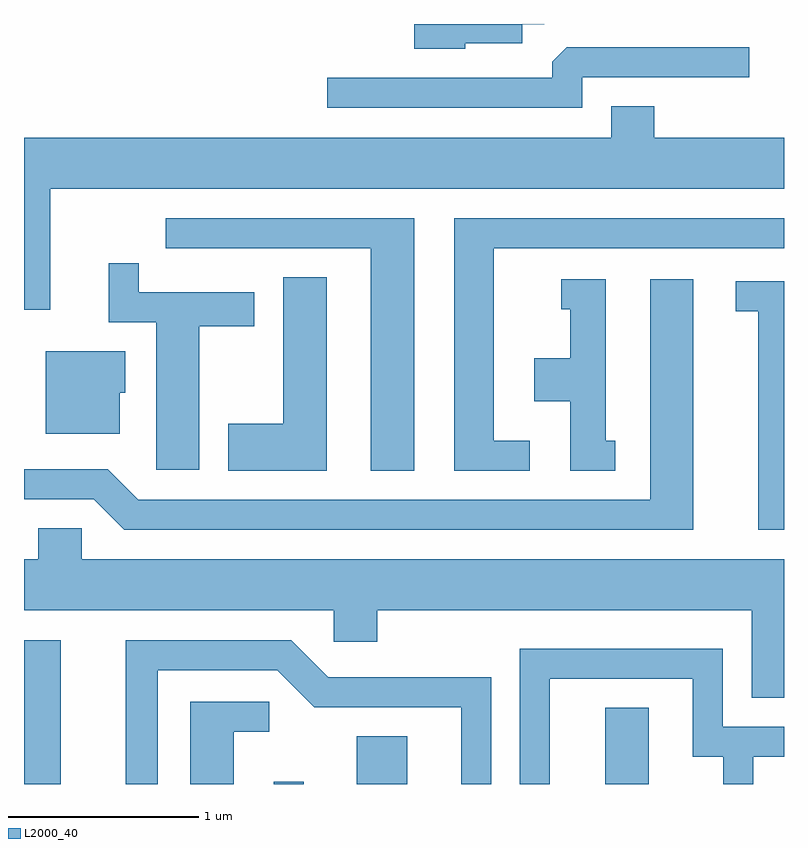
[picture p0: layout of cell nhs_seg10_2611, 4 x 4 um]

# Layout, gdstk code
import gdstk
lib = gdstk.Library(unit=1e-6, precision=1e-09)
def R(c, l, rs):  # rectangles x0, y0, x1, y1
    for r in rs: c.add(gdstk.rectangle(r[:2], r[2:], *l))
def P(c, l, *ps):  # polygons
    for p in ps: c.add(gdstk.Polygon(p, *l))
L2000_40 = (2000, 40)

nhs_seg10_2611 = lib.new_cell('nhs_seg10_2611')
R(nhs_seg10_2611, L2000_40, [(261.611,2148.522,261.804,2149.279), (262.926,2148.522,263.084,2148.533), (263.361,2148.522,263.629,2148.774), (264.671,2148.522,264.899,2148.924)])
P(nhs_seg10_2611, L2000_40, [(263.934,2152.421),(264.234,2152.421),(264.234,2152.521),(264.349,2152.521),(264.35,2152.522),(263.666,2152.522),(263.666,2152.391),(263.934,2152.391)],
  [(264.549,2152.241),(265.428,2152.241),(265.428,2152.399),(264.467,2152.399),(264.391,2152.324),(264.391,2152.239),(263.208,2152.239),(263.208,2152.081),(264.549,2152.081)],
  [(261.749,2151.656),(265.611,2151.656),(265.611,2151.924),(264.929,2151.924),(264.929,2152.089),(264.701,2152.089),(264.701,2151.924),(261.611,2151.924),(261.611,2151.018),(261.749,2151.018)],
  [(264.273,2150.329),(264.084,2150.329),(264.084,2151.341),(265.611,2151.341),(265.611,2151.499),(263.876,2151.499),(263.876,2150.171),(264.273,2150.171)],
  [(263.664,2151.499),(262.358,2151.499),(262.358,2151.341),(263.436,2151.341),(263.436,2150.171),(263.664,2150.171)],
  [(262.534,2150.931),(262.824,2150.931),(262.824,2151.109),(262.214,2151.109),(262.214,2151.263),(262.056,2151.263),(262.056,2150.951),(262.306,2150.951),(262.306,2150.176),(262.534,2150.176)],
  [(263.204,2151.189),(262.976,2151.189),(262.976,2150.419),(262.686,2150.419),(262.686,2150.171),(263.204,2150.171)],
  [(264.723,2150.329),(264.674,2150.329),(264.674,2151.179),(264.438,2151.179),(264.438,2151.021),(264.486,2151.021),(264.486,2150.764),(264.296,2150.764),(264.296,2150.536),(264.486,2150.536),(264.486,2150.171),(264.723,2150.171)],
  [(265.134,2151.179),(264.906,2151.179),(264.906,2150.019),(262.212,2150.019),(262.052,2150.179),(261.611,2150.179),(261.611,2150.021),(261.979,2150.021),(262.139,2149.861),(265.134,2149.861)],
  [(265.611,2151.169),(265.358,2151.169),(265.358,2151.011),(265.476,2151.011),(265.476,2149.861),(265.611,2149.861)],
  [(262.114,2150.581),(262.144,2150.581),(262.144,2150.799),(261.726,2150.799),(261.726,2150.366),(262.114,2150.366)],
  [(265.611,2149.704),(261.914,2149.704),(261.914,2149.869),(261.686,2149.869),(261.686,2149.704),(261.611,2149.704),(261.611,2149.436),(263.241,2149.436),(263.241,2149.271),(263.469,2149.271),(263.469,2149.436),(265.441,2149.436),(265.441,2148.976),(265.611,2148.976)],
  [(262.314,2149.121),(262.944,2149.121),(263.139,2148.926),(263.911,2148.926),(263.911,2148.522),(264.069,2148.522),(264.069,2149.084),(263.212,2149.084),(263.017,2149.279),(262.146,2149.279),(262.146,2148.522),(262.314,2148.522)],
  [(264.379,2149.076),(265.131,2149.076),(265.131,2148.666),(265.291,2148.666),(265.291,2148.522),(265.449,2148.522),(265.449,2148.666),(265.611,2148.666),(265.611,2148.824),(265.289,2148.824),(265.289,2149.234),(264.221,2149.234),(264.221,2148.522),(264.379,2148.522)],
  [(262.714,2148.796),(262.903,2148.796),(262.903,2148.954),(262.486,2148.954),(262.486,2148.522),(262.714,2148.522)])

lib.write_gds('nhs_seg10_2611.gds')
